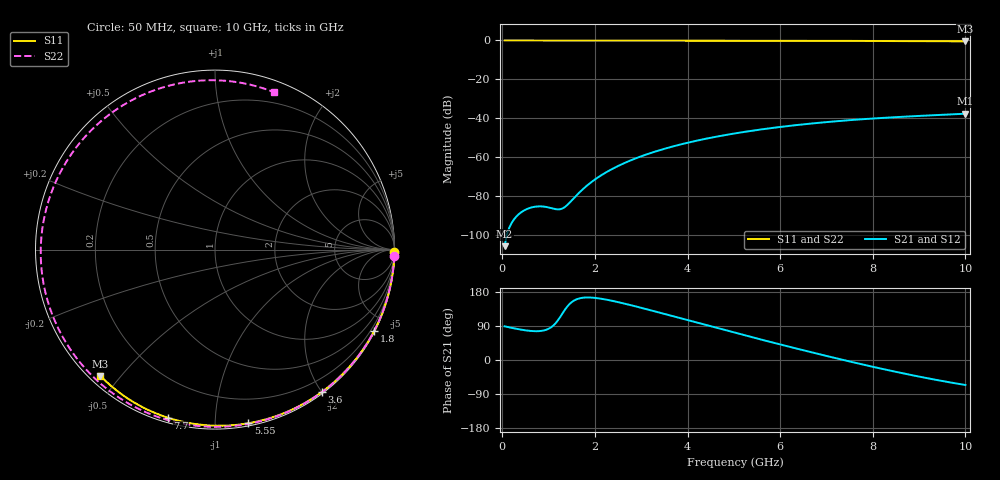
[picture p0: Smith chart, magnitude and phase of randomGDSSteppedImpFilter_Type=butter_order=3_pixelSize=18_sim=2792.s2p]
! freq	dB(S11)	phase(S11)	dB(S12)	phase(S12)
!  dB(S21)	phase(S21)	dB(S22)	phase(S22)
!S-par simulation data
#  GHz  S  DB  R 50
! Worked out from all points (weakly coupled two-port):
!   200 points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, 50 MHz to 10 GHz, reference 50 ohm
!   highest |S21| = -37.57 dB at 10 GHz (marker M1); lowest = -105.5 dB at 50 MHz (marker M2)
!   lowest |S11| = -0.4 dB at 10 GHz (marker M3), VSWR 38.97, Z = 1.53 - j22.1 ohm
!   |S11| at or under -10 dB: nowhere
!   |S22| runs from -0.6 to 0.0 dB; largest |S21 - S12| = 0
!   S11 on the Smith chart (normalised r, x): 50 MHz: open; 1.8 GHz: 0.04, -4.15; 3.6 GHz: 0.02, -2.01; 5.55 GHz: 0.02, -1.21; 7.7 GHz: 0.02, -0.76; 10 GHz: 0.03, -0.44
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0.05  -0.00 -0.8  -105.51 88.9  -105.51 88.9  -0.00 -1.9
0.4  -0.01 -6.1  -88.26 80.2  -88.26 80.2  -0.02 -15.2
0.75  -0.01 -11.4  -85.15 76.0  -85.15 76.0  -0.04 -28.2
1.15  -0.02 -17.4  -86.51 96.9  -86.51 96.9  -0.05 -42.9
1.55  -0.03 -23.4  -80.77 157.0  -80.77 157.0  -0.07 -57.0
1.6  -0.03 -24.1  -79.52 160.0  -79.52 160.0  -0.07 -58.8
1.75  -0.03 -26.4  -76.06 164.4  -76.06 164.4  -0.08 -63.9
1.8  -0.03 -27.1  -75.02 164.9  -75.02 164.9  -0.08 -65.6
2.1  -0.04 -31.5  -69.70 162.3  -69.70 162.3  -0.09 -75.6
2.45  -0.05 -36.6  -64.97 154.1  -64.97 154.1  -0.10 -86.9
2.9  -0.06 -43.1  -60.30 140.9  -60.30 140.9  -0.12 -100.7
3.4  -0.07 -50.2  -56.27 124.9  -56.27 124.9  -0.14 -115.4
3.6  -0.07 -53.0  -54.90 118.3  -54.90 118.3  -0.14 -121.0
4.35  -0.09 -63.3  -50.63 93.8  -50.63 93.8  -0.18 -141.4
5.05  -0.11 -72.6  -47.57 71.1  -47.57 71.1  -0.21 -159.5
5.55  -0.13 -79.1  -45.77 55.2  -45.77 55.2  -0.24 -172.1
6.1  -0.15 -86.1  -44.08 38.0  -44.08 38.0  -0.27 174.1
6.7  -0.18 -93.6  -42.54 19.7  -42.54 19.7  -0.31 159.1
7.7  -0.24 -105.7  -40.53 -9.6  -40.53 -9.6  -0.38 133.4
8.35  -0.29 -113.3  -39.53 -27.3  -39.53 -27.3  -0.43 116.1
9.2  -0.36 -123.1  -38.47 -48.6  -38.47 -48.6  -0.50 92.5
10  -0.45 -132.2  -37.57 -66.0  -37.57 -66.0  -0.57 69.5
